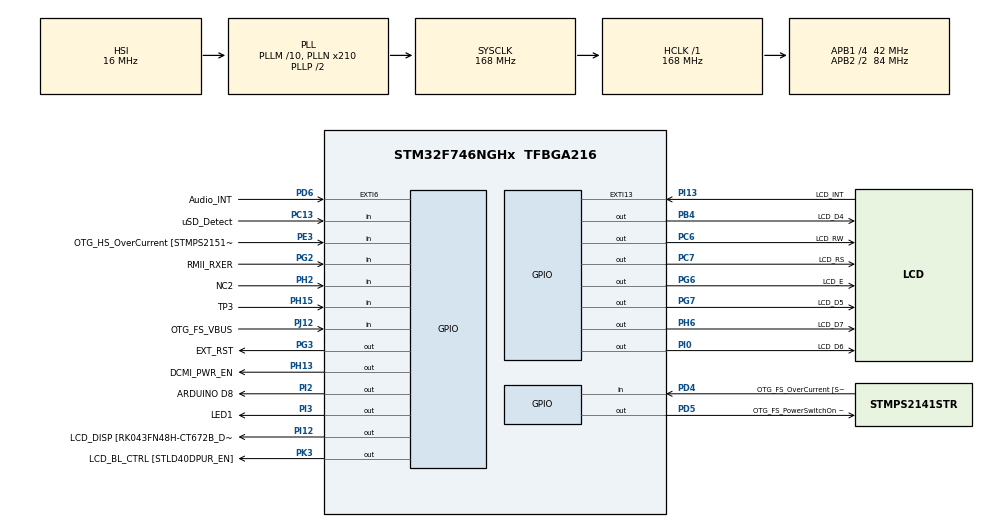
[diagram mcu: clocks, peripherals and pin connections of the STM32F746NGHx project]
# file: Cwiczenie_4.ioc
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Mcu.Family=STM32F7
Mcu.Name=STM32F746NGHx
Mcu.Package=TFBGA216
NVIC.PriorityGroup=NVIC_PRIORITYGROUP_4
PA0/WKUP.GPIO_Label=ARDUINO A0
PA0/WKUP.GPIO_Mode=GPIO_MODE_ANALOG
PA0/WKUP.GPIO_PuPd=GPIO_NOPULL
PA0/WKUP.Signal=ADCx_IN0
PA1.GPIO_Label=RMII_REF_CLK [LAN8742A-CZ-TR_REFCLK0]
PA1.Signal=ETH_REF_CLK
PA10.GPIO_Label=OTG_FS_ID
PA10.Signal=USB_OTG_FS_ID
PA11.GPIO_Label=OTG_FS_N
PA11.Signal=USB_OTG_FS_DM
PA12.GPIO_Label=OTG_FS_P
PA12.Signal=USB_OTG_FS_DP
PA13.GPIO_Label=SWDIO
PA13.Signal=SYS_JTMS-SWDIO
PA14.GPIO_Label=SWCLK
PA14.Signal=SYS_JTCK-SWCLK
PA15.GPIO_Label=ARDUINO PWM/D9
PA15.GPIO_ModeDefaultPP=GPIO_MODE_AF_PP
PA15.GPIO_PuPd=GPIO_NOPULL
PA15.GPIO_Speed=GPIO_SPEED_FREQ_LOW
PA15.Signal=S_TIM2_CH1_ETR
PA2.GPIO_Label=RMII_MDIO [LAN8742A-CZ-TR_MDIO]
PA2.Signal=ETH_MDIO
PA3.GPIO_Label=ULPI_D0 [USB3320C-EZK_D0]
PA3.Signal=USB_OTG_HS_ULPI_D0
PA4.GPIO_Label=DCMI_HSYNC
PA4.Signal=DCMI_HSYNC
PA5.GPIO_Label=ULPI_CLK [USB3320C-EZK_CLKOUT]
PA5.Signal=USB_OTG_HS_ULPI_CK
PA6.Signal=DCMI_PIXCLK
PA7.GPIO_Label=RMII_CRS_DV [LAN8742A-CZ-TR_CRS_DV]
PA7.Signal=ETH_CRS_DV
PA8.GPIO_Label=ARDUINO PWM/D10
PA8.GPIO_ModeDefaultPP=GPIO_MODE_AF_PP
PA8.GPIO_PuPd=GPIO_NOPULL
PA8.GPIO_Speed=GPIO_SPEED_FREQ_LOW
PA8.Signal=S_TIM1_CH1
PA9.GPIO_Label=VCP_TX [STM32F103CBT6_PA3]
PA9.GPIO_Mode=GPIO_MODE_AF_PP
PA9.GPIO_PuPd=GPIO_NOPULL
PA9.GPIO_Speed=GPIO_SPEED_FREQ_LOW
PA9.Signal=USART1_TX
PB0.GPIO_Label=ULPI_D1 [USB3320C-EZK_D1]
PB0.Signal=USB_OTG_HS_ULPI_D1
PB1.GPIO_Label=ULPI_D2 [USB3320C-EZK_D2]
PB1.Signal=USB_OTG_HS_ULPI_D2
PB10.GPIO_Label=ULPI_D3 [USB3320C-EZK_D3]
PB10.Signal=USB_OTG_HS_ULPI_D3
PB11.GPIO_Label=ULPI_D4 [USB3320C-EZK_D4]
PB11.Signal=USB_OTG_HS_ULPI_D4
PB12.GPIO_Label=ULPI_D5 [USB3320C-EZK_D5]
PB12.Signal=USB_OTG_HS_ULPI_D5
PB13.GPIO_Label=ULPI_D6 [USB3320C-EZK_D6]
PB13.Signal=USB_OTG_HS_ULPI_D6
PB14.GPIO_Label=ARDUINO MISO/D12
PB14.GPIO_Mode=GPIO_MODE_AF_PP
PB14.GPIO_PuPd=GPIO_NOPULL
PB14.GPIO_Speed=GPIO_SPEED_FREQ_LOW
PB14.Signal=SPI2_MISO
PB15.GPIO_Label=ARDUINO MOSI/PWM/D11
PB15.GPIO_Mode=GPIO_MODE_AF_PP
PB15.GPIO_PuPd=GPIO_NOPULL
PB15.GPIO_Speed=GPIO_SPEED_FREQ_LOW
PB15.Signal=SPI2_MOSI
PB2.Signal=QUADSPI_CLK
PB3.GPIO_Label=SWO
PB3.Signal=SYS_JTDO-SWO
PB4.GPIO_Label=LCD_D4
PB4.GPIO_Speed=GPIO_SPEED_FREQ_MEDIUM
PB4.Signal=GPIO_Output
PB5.GPIO_Label=ULPI_D7 [USB3320C-EZK_D7]
PB5.Signal=USB_OTG_HS_ULPI_D7
PB6.GPIO_Label=QSPI_NCS [N25Q128A13EF840E_S]
PB6.Signal=QUADSPI_BK1_NCS
PB7.GPIO_Label=VCP_RX [STM32F103CBT6_PA2]
PB7.GPIO_Mode=GPIO_MODE_AF_PP
PB7.GPIO_PuPd=GPIO_NOPULL
PB7.GPIO_Speed=GPIO_SPEED_FREQ_LOW
PB7.Signal=USART1_RX
PB8.GPIO_Label=ARDUINO SCL/D15
PB8.GPIO_Mode=GPIO_MODE_AF_OD
PB8.GPIO_PuPd=GPIO_NOPULL
PB8.GPIO_Speed=GPIO_SPEED_FREQ_LOW
PB8.Signal=I2C1_SCL
PB9.GPIO_Label=ARDUINO SDA/D14
PB9.GPIO_Mode=GPIO_MODE_AF_OD
PB9.GPIO_PuPd=GPIO_NOPULL
PB9.GPIO_Speed=GPIO_SPEED_FREQ_LOW
PB9.Signal=I2C1_SDA
PC0.GPIO_Label=ULPI_STP [USB3320C-EZK_STP]
PC0.Signal=USB_OTG_HS_ULPI_STP
PC1.GPIO_Label=RMII_MDC [LAN8742A-CZ-TR_MDC]
PC1.Signal=ETH_MDC
PC10.GPIO_Label=SDMMC_D2
PC10.Signal=SDMMC1_D2
PC11.GPIO_Label=SDMMC_D3
PC11.Signal=SDMMC1_D3
PC12.GPIO_Label=SDMMC_CK
PC12.Signal=SDMMC1_CK
PC13.GPIO_Label=uSD_Detect
PC13.Signal=GPIO_Input
PC14/OSC32_IN.GPIO_Label=RCC_OSC32_IN
PC14/OSC32_IN.Signal=RCC_OSC32_IN
PC15/OSC32_OUT.GPIO_Label=RCC_OSC32_OUT
PC15/OSC32_OUT.Signal=RCC_OSC32_OUT
PC2.GPIO_Label=ULPI_DIR [USB3320C-EZK_DIR]
PC2.Signal=USB_OTG_HS_ULPI_DIR
PC3.GPIO_Label=FMC_SDCKE0 [MT48LC4M32B2B5-6A_CKE]
PC3.Signal=FMC_SDCKE0
PC4.GPIO_Label=RMII_RXD0 [LAN8742A-CZ-TR_RXD0]
PC4.Signal=ETH_RXD0
PC5.GPIO_Label=RMII_RXD1 [LAN8742A-CZ-TR_RXD1]
PC5.Signal=ETH_RXD1
PC6.GPIO_Label=LCD_RW
PC6.GPIO_Speed=GPIO_SPEED_FREQ_MEDIUM
PC6.Signal=GPIO_Output
PC7.GPIO_Label=LCD_RS
PC7.GPIO_Speed=GPIO_SPEED_FREQ_MEDIUM
PC7.Signal=GPIO_Output
PC8.Signal=SDMMC1_D0
PC9.Signal=SDMMC1_D1
PD0.GPIO_Label=FMC_D2 [MT48LC4M32B2B5-6A_DQ2]
PD0.Signal=FMC_D2_DA2
PD1.GPIO_Label=FMC_D3 [MT48LC4M32B2B5-6A_DQ3]
PD1.Signal=FMC_D3_DA3
PD10.GPIO_Label=FMC_D15 [MT48LC4M32B2B5-6A_DQ15]
PD10.Signal=FMC_D15_DA15
PD11.GPIO_Label=QSPI_D0 [N25Q128A13EF840E_DQ0]
PD11.Signal=QUADSPI_BK1_IO0
PD12.GPIO_Label=QSPI_D1 [N25Q128A13EF840E_DQ1]
PD12.Signal=QUADSPI_BK1_IO1
PD13.GPIO_Label=QSPI_D3 [N25Q128A13EF840E_DQ3]
PD13.Signal=QUADSPI_BK1_IO3
PD14.GPIO_Label=FMC_D0 [MT48LC4M32B2B5-6A_DQ0]
PD14.Signal=FMC_D0_DA0
PD15.GPIO_Label=FMC_D1 [MT48LC4M32B2B5-6A_DQ1]
PD15.Signal=FMC_D1_DA1
PD2.GPIO_Label=SDMMC_D0
PD2.Signal=SDMMC1_CMD
PD3.GPIO_Label=DCMI_D5
PD3.Signal=DCMI_D5
PD4.GPIO_Label=OTG_FS_OverCurrent [STMPS2141STR_Fault]
PD4.Signal=GPIO_Input
PD5.GPIO_Label=OTG_FS_PowerSwitchOn [STMPS2141STR_EN]
PD5.PinState=GPIO_PIN_SET
PD5.Signal=GPIO_Output
PD6.GPIO_Label=Audio_INT
PD6.GPIO_ModeDefaultEXTI=GPIO_MODE_EVT_RISING
PD6.Signal=GPXTI6
PD7.GPIO_Label=SPDIF_RX0 [74LVC1G04SE_4]
PD7.Signal=SPDIFRX_IN0
PD8.GPIO_Label=FMC_D13 [MT48LC4M32B2B5-6A_DQ13]
PD8.Signal=FMC_D13_DA13
PD9.GPIO_Label=FMC_D14 [MT48LC4M32B2B5-6A_DQ14]
PD9.Signal=FMC_D14_DA14
PE0.GPIO_Label=FMC_NBL0 [MT48LC4M32B2B5-6A_DQM0]
PE0.Signal=FMC_NBL0
PE1.GPIO_Label=FMC_NBL1 [MT48LC4M32B2B5-6A_DQM1]
PE1.Signal=FMC_NBL1
PE10.GPIO_Label=FMC_D7 [MT48LC4M32B2B5-6A_DQ7]
PE10.Signal=FMC_D7_DA7
PE11.GPIO_Label=FMC_D8 [MT48LC4M32B2B5-6A_DQ8]
PE11.Signal=FMC_D8_DA8
PE12.GPIO_Label=FMC_D9 [MT48LC4M32B2B5-6A_DQ9]
PE12.Signal=FMC_D9_DA9
PE13.GPIO_Label=FMC_D10 [MT48LC4M32B2B5-6A_DQ10]
PE13.Signal=FMC_D10_DA10
PE14.GPIO_Label=FMC_D11 [MT48LC4M32B2B5-6A_DQ11]
PE14.Signal=FMC_D11_DA11
PE15.GPIO_Label=FMC_D12 [MT48LC4M32B2B5-6A_DQ12]
PE15.Signal=FMC_D12_DA12
PE2.GPIO_Label=QSPI_D2 [N25Q128A13EF840E_DQ2]
PE2.Signal=QUADSPI_BK1_IO2
PE3.GPIO_Label=OTG_HS_OverCurrent [STMPS2151STR_FAULT]
PE3.Signal=GPIO_Input
PE4.GPIO_Label=LCD_B0 [RK043FN48H-CT672B_B0]
PE4.Signal=LTDC_B0
PE5.GPIO_Label=DCMI_D6
PE5.Signal=DCMI_D6
PE6.GPIO_Label=DCMI_D7
PE6.Signal=DCMI_D7
PE7.GPIO_Label=FMC_D4 [MT48LC4M32B2B5-6A_DQ4]
PE7.Signal=FMC_D4_DA4
PE8.GPIO_Label=FMC_D5 [MT48LC4M32B2B5-6A_DQ5]
PE8.Signal=FMC_D5_DA5
PE9.GPIO_Label=FMC_D6 [MT48LC4M32B2B5-6A_DQ6]
PE9.Signal=FMC_D6_DA6
PF0.GPIO_Label=FMC_A0 [MT48LC4M32B2B5-6A_A0]
PF0.Signal=FMC_A0
PF1.GPIO_Label=FMC_A1 [MT48LC4M32B2B5-6A_A1]
PF1.Signal=FMC_A1
PF10.GPIO_Label=ARDUINO A1
PF10.GPIO_Mode=GPIO_MODE_ANALOG
PF10.GPIO_PuPd=GPIO_NOPULL
PF10.Signal=ADC3_IN8
PF11.GPIO_Label=FMC_SDNRAS [MT48LC4M32B2B5-6A_RAS]
PF11.Signal=FMC_SDNRAS
PF12.GPIO_Label=FMC_A6 [MT48LC4M32B2B5-6A_A6]
PF12.Signal=FMC_A6
PF13.GPIO_Label=FMC_A7 [MT48LC4M32B2B5-6A_A7]
PF13.Signal=FMC_A7
PF14.GPIO_Label=FMC_A8 [MT48LC4M32B2B5-6A_A8]
PF14.Signal=FMC_A8
PF15.GPIO_Label=FMC_A9 [MT48LC4M32B2B5-6A_A9]
PF15.Signal=FMC_A9
PF2.GPIO_Label=FMC_A2 [MT48LC4M32B2B5-6A_A2]
PF2.Signal=FMC_A2
PF3.GPIO_Label=FMC_A3 [MT48LC4M32B2B5-6A_A3]
PF3.Signal=FMC_A3
PF4.GPIO_Label=FMC_A4 [MT48LC4M32B2B5-6A_A4]
PF4.Signal=FMC_A4
PF5.GPIO_Label=FMC_A5 [MT48LC4M32B2B5-6A_A5]
PF5.Signal=FMC_A5
PF6.GPIO_Label=ARDUINO A5
PF6.GPIO_Mode=GPIO_MODE_ANALOG
PF6.GPIO_PuPd=GPIO_NOPULL
PF6.Signal=ADC3_IN4
PF7.GPIO_Label=ARDUINO A4
PF7.GPIO_Mode=GPIO_MODE_ANALOG
PF7.GPIO_PuPd=GPIO_NOPULL
PF7.Signal=ADC3_IN5
PF8.GPIO_Label=ARDUINO A3
PF8.GPIO_Mode=GPIO_MODE_ANALOG
PF8.GPIO_PuPd=GPIO_NOPULL
PF8.Signal=ADC3_IN6
PF9.GPIO_Label=ARDUINO A2
PF9.GPIO_Mode=GPIO_MODE_ANALOG
PF9.GPIO_PuPd=GPIO_NOPULL
PF9.Signal=ADC3_IN7
PG0.GPIO_Label=FMC_A10 [MT48LC4M32B2B5-6A_A10]
PG0.Signal=FMC_A10
PG1.GPIO_Label=FMC_A11 [MT48LC4M32B2B5-6A_A11]
PG1.Signal=FMC_A11
PG10.GPIO_Label=SAI2_SDB [WM8994ECS/R_ADCDAT1]
PG10.Signal=SAI2_SD_B
PG11.GPIO_Label=RMII_TX_EN [LAN8742A-CZ-TR_TXEN]
PG11.Signal=ETH_TX_EN
PG12.GPIO_Label=LCD_B4 [RK043FN48H-CT672B_B4]
PG12.Signal=LTDC_B4
PG13.GPIO_Label=RMII_TXD0 [LAN8742A-CZ-TR_TXD0]
PG13.Signal=ETH_TXD0
PG14.GPIO_Label=RMII_TXD1 [LAN8742A-CZ-TR_TXD1]
PG14.Signal=ETH_TXD1
PG15.GPIO_Label=FMC_SDNCAS [MT48LC4M32B2B5-6A_CAS]
PG15.Signal=FMC_SDNCAS
PG2.GPIO_Label=RMII_RXER
PG2.Signal=GPIO_Input
PG3.GPIO_Label=EXT_RST
PG3.Signal=GPIO_Output
PG4.GPIO_Label=FMC_BA0 [MT48LC4M32B2B5-6A_BA0]
PG4.Signal=FMC_A14_BA0
PG5.GPIO_Label=FMC_BA1 [MT48LC4M32B2B5-6A_BA1]
PG5.Signal=FMC_A15_BA1
PG6.GPIO_Label=LCD_E
PG6.GPIO_Speed=GPIO_SPEED_FREQ_MEDIUM
PG6.Signal=GPIO_Output
PG7.GPIO_Label=LCD_D5
PG7.GPIO_Speed=GPIO_SPEED_FREQ_MEDIUM
PG7.Signal=GPIO_Output
PG8.GPIO_Label=FMC_SDCLK [MT48LC4M32B2B5-6A_CLK]
PG8.Signal=FMC_SDCLK
PG9.GPIO_Label=DCMI_VSYNC
PG9.Signal=DCMI_VSYNC
PH0/OSC_IN.GPIO_Label=OSC_25M [NZ2520SB-25.00M_OUT]
PH0/OSC_IN.Signal=RCC_OSC_IN
PH1/OSC_OUT.Signal=RCC_OSC_OUT
PH10.GPIO_Label=DCMI_D1
PH10.Signal=DCMI_D1
PH11.GPIO_Label=DCMI_D2
PH11.Signal=DCMI_D2
PH12.GPIO_Label=DCMI_D3
PH12.Signal=DCMI_D3
PH13.GPIO_Label=DCMI_PWR_EN
PH13.Signal=GPIO_Output
PH14.GPIO_Label=DCMI_D4
PH14.Signal=DCMI_D4
PH15.GPIO_Label=TP3
PH15.Signal=GPIO_Input
PH2.GPIO_Label=NC2
PH2.Signal=GPIO_Input
PH3.GPIO_Label=FMC_SDNE0 [MT48LC4M32B2B5-6A_CS]
PH3.Signal=FMC_SDNE0
PH4.GPIO_Label=ULPI_NXT [USB3320C-EZK_NXT]
PH4.Signal=USB_OTG_HS_ULPI_NXT
PH5.GPIO_Label=FMC_SDNME [MT48LC4M32B2B5-6A_WE]
PH5.Signal=FMC_SDNWE
PH6.GPIO_Label=LCD_D7
PH6.GPIO_Speed=GPIO_SPEED_FREQ_MEDIUM
PH6.Signal=GPIO_Output
PH7.GPIO_Label=LCD_SCL [RK043FN48H-CT672B_SCL]
PH7.Signal=I2C3_SCL
PH8.GPIO_Label=LCD_SDA [RK043FN48H-CT672B_SDA]
PH8.Signal=I2C3_SDA
PH9.GPIO_Label=DCMI_D0
PH9.Signal=DCMI_D0
PI0.GPIO_Label=LCD_D6
PI0.GPIO_Speed=GPIO_SPEED_FREQ_MEDIUM
PI0.Signal=GPIO_Output
PI1.GPIO_Label=ARDUINO SCK/D13
PI1.GPIO_Mode=GPIO_MODE_AF_PP
PI1.GPIO_PuPd=GPIO_NOPULL
PI1.GPIO_Speed=GPIO_SPEED_FREQ_LOW
PI1.Signal=SPI2_SCK
PI10.GPIO_Label=LCD_HSYNC [RK043FN48H-CT672B_HSYNC]
PI10.Signal=LTDC_HSYNC
PI12.GPIO_Label=LCD_DISP [RK043FN48H-CT672B_DISP] 
PI12.Signal=GPIO_Output
PI13.GPIO_Label=LCD_INT
PI13.GPIO_ModeDefaultEXTI=GPIO_MODE_EVT_RISING
PI13.Signal=GPXTI13
PI14.GPIO_Label=LCD_CLK [RK043FN48H-CT672B_CLK]
PI14.Signal=LTDC_CLK
PI15.GPIO_Label=LCD_R0 [RK043FN48H-CT672B_R0]
PI15.Signal=LTDC_R0
PI2.GPIO_Label=ARDUINO D8
PI2.Signal=GPIO_Output
PI3.GPIO_Label=LED1
PI3.Signal=GPIO_Output
PI4.GPIO_Label=SAI2_MCLKA [WM8994ECS/R_MCLK1]
PI4.Signal=SAI2_MCLK_A
PI5.GPIO_Label=SAI2_SCKA [WM8994ECS/R_BCLK1]
PI5.Signal=SAI2_SCK_A
PI6.GPIO_Label=SAI2_SDA [WM8994ECS/R_DACDAT1]
PI6.Signal=SAI2_SD_A
PI7.GPIO_Label=SAI2_FSA [WM8994ECS/R_LRCLK1]
PI7.Signal=SAI2_FS_A
PI8.GPIO_Label=NC1 [TP2]
PI8.Signal=RTC_TS
PI9.GPIO_Label=LCD_VSYNC [RK043FN48H-CT672B_VSYNC]
PI9.Signal=LTDC_VSYNC
PJ0.GPIO_Label=LCD_R1 [RK043FN48H-CT672B_R1]
PJ0.Signal=LTDC_R1
PJ1.GPIO_Label=LCD_R2 [RK043FN48H-CT672B_R2]
PJ1.Signal=LTDC_R2
PJ10.GPIO_Label=LCD_G3 [RK043FN48H-CT672B_G3]
PJ10.Signal=LTDC_G3
PJ11.GPIO_Label=LCD_G4 [RK043FN48H-CT672B_G4]
PJ11.Signal=LTDC_G4
PJ12.GPIO_Label=OTG_FS_VBUS
PJ12.Signal=GPIO_Input
PJ13.GPIO_Label=LCD_B1 [RK043FN48H-CT672B_B1]
PJ13.Signal=LTDC_B1
PJ14.GPIO_Label=LCD_B2 [RK043FN48H-CT672B_B2]
PJ14.Signal=LTDC_B2
PJ15.GPIO_Label=LCD_B3 [RK043FN48H-CT672B_B3]
PJ15.Signal=LTDC_B3
PJ2.GPIO_Label=LCD_R3 [RK043FN48H-CT672B_R3]
PJ2.Signal=LTDC_R3
PJ3.GPIO_Label=LCD_R4 [RK043FN48H-CT672B_R4]
PJ3.Signal=LTDC_R4
PJ4.GPIO_Label=LCD_R5 [RK043FN48H-CT672B_R5]
PJ4.Signal=LTDC_R5
PJ5.GPIO_Label=LCD_R6 [RK043FN48H-CT672B_R6]
PJ5.Signal=LTDC_R6
PJ6.GPIO_Label=LCD_R7 [RK043FN48H-CT672B_R7]
PJ6.Signal=LTDC_R7
PJ7.GPIO_Label=LCD_G0 [RK043FN48H-CT672B_G0]
PJ7.Signal=LTDC_G0
PJ8.GPIO_Label=LCD_G1 [RK043FN48H-CT672B_G1]
PJ8.Signal=LTDC_G1
PJ9.GPIO_Label=LCD_G2 [RK043FN48H-CT672B_G2]
PJ9.Signal=LTDC_G2
PK0.GPIO_Label=LCD_G5 [RK043FN48H-CT672B_G5]
PK0.Signal=LTDC_G5
PK1.GPIO_Label=LCD_G6 [RK043FN48H-CT672B_G6]
PK1.Signal=LTDC_G6
PK2.GPIO_Label=LCD_G7 [RK043FN48H-CT672B_G7]
PK2.Signal=LTDC_G7
PK3.GPIO_Label=LCD_BL_CTRL [STLD40DPUR_EN]
PK3.Signal=GPIO_Output
PK4.GPIO_Label=LCD_B5 [RK043FN48H-CT672B_B5]
PK4.Signal=LTDC_B5
PK5.GPIO_Label=LCD_B6 [RK043FN48H-CT672B_B6]
PK5.Signal=LTDC_B6
PK6.GPIO_Label=LCD_B7 [RK043FN48H-CT672B_B7]
PK6.Signal=LTDC_B7
PK7.GPIO_Label=LCD_DE [RK043FN48H-CT672B_DE]
PK7.Signal=LTDC_DE
ProjectManager.HeapSize=0x200
ProjectManager.StackSize=0x400
ProjectManager.TargetToolchain=STM32CubeIDE
RCC.AHBFreq_Value=168000000
RCC.APB1CLKDivider=RCC_HCLK_DIV4
RCC.APB1Freq_Value=42000000
RCC.APB1TimFreq_Value=84000000
RCC.APB2CLKDivider=RCC_HCLK_DIV2
RCC.APB2Freq_Value=84000000
RCC.APB2TimFreq_Value=168000000
RCC.CortexFreq_Value=168000000
RCC.HCLKFreq_Value=168000000
RCC.HSE_VALUE=25000000
RCC.HSI_VALUE=16000000
RCC.LSE_VALUE=32768
RCC.PLLM=10
RCC.PLLN=210
RCC.PLLSourceVirtual=RCC_PLLSOURCE_HSI
RCC.SYSCLKFreq_VALUE=168000000
RCC.SYSCLKSource=RCC_SYSCLKSOURCE_PLLCLK
RCC.USBFreq_Value=168000000
RCC.VCOOutputFreq_Value=336000000
SH.ADCx_IN0.0=ADC3_IN0
SH.FMC_A0.0=FMC_A0
SH.FMC_A1.0=FMC_A1
SH.FMC_A10.0=FMC_A10
SH.FMC_A11.0=FMC_A11
SH.FMC_A14_BA0.0=FMC_BA0
SH.FMC_A15_BA1.0=FMC_BA1
SH.FMC_A2.0=FMC_A2
SH.FMC_A3.0=FMC_A3
SH.FMC_A4.0=FMC_A4
SH.FMC_A5.0=FMC_A5
SH.FMC_A6.0=FMC_A6
SH.FMC_A7.0=FMC_A7
SH.FMC_A8.0=FMC_A8
SH.FMC_A9.0=FMC_A9
SH.FMC_D0_DA0.0=FMC_D0
SH.FMC_D10_DA10.0=FMC_D10
SH.FMC_D11_DA11.0=FMC_D11
SH.FMC_D12_DA12.0=FMC_D12
SH.FMC_D13_DA13.0=FMC_D13
SH.FMC_D14_DA14.0=FMC_D14
SH.FMC_D15_DA15.0=FMC_D15
SH.FMC_D1_DA1.0=FMC_D1
SH.FMC_D2_DA2.0=FMC_D2
SH.FMC_D3_DA3.0=FMC_D3
SH.FMC_D4_DA4.0=FMC_D4
SH.FMC_D5_DA5.0=FMC_D5
SH.FMC_D6_DA6.0=FMC_D6
SH.FMC_D7_DA7.0=FMC_D7
SH.FMC_D8_DA8.0=FMC_D8
SH.FMC_D9_DA9.0=FMC_D9
SH.FMC_NBL0.0=FMC_NBL0
SH.FMC_NBL1.0=FMC_NBL1
SH.FMC_SDCLK.0=FMC_SDCLK
SH.FMC_SDNCAS.0=FMC_SDNCAS
SH.FMC_SDNRAS.0=FMC_SDNRAS
SH.FMC_SDNWE.0=FMC_SDNWE
SH.S_TIM1_CH1.0=TIM1_CH1
SH.S_TIM2_CH1_ETR.0=TIM2_CH1
board=STM32F746G-DISCO

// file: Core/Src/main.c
/* USER CODE BEGIN Header */
/**
  ******************************************************************************
  * @file           : main.c
  * @brief          : Main program body
  ******************************************************************************
  * @attention
  *
  * Copyright (c) 2022 STMicroelectronics.
  * All rights reserved.
  *
  * This software is licensed under terms that can be found in the LICENSE file
  * in the root directory of this software component.
  * If no LICENSE file comes with this software, it is provided AS-IS.
  *
  ******************************************************************************
  */
/* USER CODE END Header */
#include "main.h"
#include "gpio.h"

/* USER CODE BEGIN Includes */
#include "lcd.h"
#include "stdbool.h"
#include "stdio.h"
/* USER CODE END Includes */

/* USER CODE BEGIN PV */
static volatile uint8_t licznik = 0;
static char licznikTekst[3] = {"0"};
bool kierunekWGore = true;
/* USER CODE END PV */

void SystemClock_Config(void);

int main(void)
{

  /* MCU Configuration--------------------------------------------------------*/

  /* Reset of all peripherals, Initializes the Flash interface and the Systick. */
  HAL_Init();

  /* Configure the system clock */
  SystemClock_Config();

  /* Initialize all configured peripherals */
  MX_GPIO_Init();

  /* Infinite loop */
  /* USER CODE BEGIN WHILE */
  LCD_Initialize();                         //inicjalizacja wysietlacza
  while (1)
  {
	  /* USER CODE END WHILE */

	  /* USER CODE BEGIN 3 */

	  LCD_WriteCommand(HD44780_CLEAR);          //wyczyszczenie wyświetlacza
	  LCD_WriteTextXY("Odliczanie:",0,0);

	  sprintf(licznikTekst, "%i", licznik);
	  LCD_WriteTextXY(licznikTekst, 0, 1);

	  if (licznik >= 15)
		  kierunekWGore = !kierunekWGore;
	  if (licznik ==0 && kierunekWGore != true )
	  		  kierunekWGore = !kierunekWGore;

	  if(kierunekWGore)
	  {
		  licznik++;
		  HAL_GPIO_WritePin(LED1_GPIO_Port, LED1_Pin, SET);
	  }
	  else
	  {
		  licznik--;
		  HAL_GPIO_WritePin(LED1_GPIO_Port, LED1_Pin, RESET);
	  }

	  HAL_Delay(1000);

  }
  /* USER CODE END 3 */
}

void SystemClock_Config(void)
{
  RCC_OscInitTypeDef RCC_OscInitStruct = {0};
  RCC_ClkInitTypeDef RCC_ClkInitStruct = {0};

  /** Configure the main internal regulator output voltage
  */
  __HAL_RCC_PWR_CLK_ENABLE();
  __HAL_PWR_VOLTAGESCALING_CONFIG(PWR_REGULATOR_VOLTAGE_SCALE2);

  /** Initializes the RCC Oscillators according to the specified parameters
  * in the RCC_OscInitTypeDef structure.
  */
  RCC_OscInitStruct.OscillatorType = RCC_OSCILLATORTYPE_HSI;
  RCC_OscInitStruct.HSIState = RCC_HSI_ON;
  RCC_OscInitStruct.HSICalibrationValue = RCC_HSICALIBRATION_DEFAULT;
  RCC_OscInitStruct.PLL.PLLState = RCC_PLL_ON;
  RCC_OscInitStruct.PLL.PLLSource = RCC_PLLSOURCE_HSI;
  RCC_OscInitStruct.PLL.PLLM = 10;
  RCC_OscInitStruct.PLL.PLLN = 210;
  RCC_OscInitStruct.PLL.PLLP = RCC_PLLP_DIV2;
  RCC_OscInitStruct.PLL.PLLQ = 2;
  if (HAL_RCC_OscConfig(&RCC_OscInitStruct) != HAL_OK)
  {
    Error_Handler();
  }

  /** Initializes the CPU, AHB and APB buses clocks
  */
  RCC_ClkInitStruct.ClockType = RCC_CLOCKTYPE_HCLK|RCC_CLOCKTYPE_SYSCLK
                              |RCC_CLOCKTYPE_PCLK1|RCC_CLOCKTYPE_PCLK2;
  RCC_ClkInitStruct.SYSCLKSource = RCC_SYSCLKSOURCE_PLLCLK;
  RCC_ClkInitStruct.AHBCLKDivider = RCC_SYSCLK_DIV1;
  RCC_ClkInitStruct.APB1CLKDivider = RCC_HCLK_DIV4;
  RCC_ClkInitStruct.APB2CLKDivider = RCC_HCLK_DIV2;

  if (HAL_RCC_ClockConfig(&RCC_ClkInitStruct, FLASH_LATENCY_5) != HAL_OK)
  {
    Error_Handler();
  }
}

void Error_Handler(void)
{
  __disable_irq();
  while (1)
  {
  }
}
